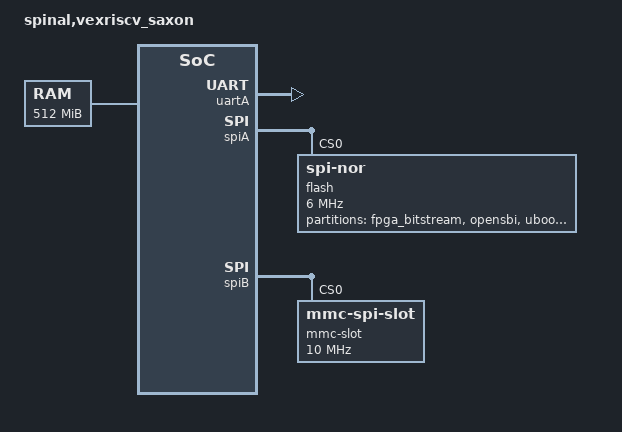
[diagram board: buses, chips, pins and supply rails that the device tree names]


/dts-v1/;
//include/ "dt-bindings/interrupt-controller/irq.h"
//include/ "dt-bindings/gpio/gpio.h"



/ {
    #address-cells = <0x1>;
    #size-cells = <0x1>;
    compatible = "spinal,vexriscv";
    model = "spinal,vexriscv_saxon";

    chosen {
        bootargs = "rootwait console=hvc0  earlycon=sbi root=/dev/mmcblk0p2 init=/sbin/init mmc_core.use_spi_crc=0";  //rng_core.default_quality=1000 random.trust_cpu=on

        //bootargs = "rootwait console=hvc0 earlycon=sbi root=/dev/ram0 init=/sbin/init mmc_core.use_spi_crc=0";
        //not necessary if uboot is used
        //linux,initrd-start = <0x81000000>;
        //linux,initrd-end =   <0x82000000>;
    };

    cpus {
        #address-cells = <0x1>;
        #size-cells = <0x0>;
        timebase-frequency = <80000000>;
        cpu@0 {
            device_type = "cpu";
            compatible = "riscv";
            riscv,isa = "rv32ima";
            mmu-type = "riscv,sv32";
            reg = <0>;
            status = "okay";
            L0: interrupt-controller {
                #interrupt-cells = <0x00000001>;
                interrupt-controller;
                compatible = "riscv,cpu-intc";
            };
        };
    };



    memory@1000 {
        device_type = "memory";
        reg = <0x00001000 0x1FFFF000>;
    };

	reserved-memory {
		#address-cells = <1>;
		#size-cells = <1>;
		ranges;

		opensbi: sbi@1000000 {
			reg = <0x01000000 0x80000>;
		};
	};

	clocks {
		compatible = "simple-bus";
		#address-cells = <1>;
		#size-cells = <0>;

		apbA_clock: clock@1 {
			compatible = "fixed-clock";
			reg = <1 0>;
			#clock-cells = <0>;
			clock-frequency = <80000000>;
		};
	};



  apbA@F8000000 {
        compatible = "simple-bus";
        #address-cells = <0x1>;
        #size-cells = <0x1>;
        ranges = <0x0 0xF8000000 0x01000000>;

        plic: interrupt-controller@c00000 {
            compatible = "sifive,plic-1.0.0", "sifive,fu540-c000-plic";
            #interrupt-cells = <1>;
            interrupt-controller;
            interrupts-extended = <
                &L0 11 &L0 9
               >;
            reg = <0x00C00000 0x400000>;
            riscv,ndev = <32>;
        };

        gpioA: gpio@16000 {
	        compatible = "spinal-lib,gpio-1.0";
	        interrupt-parent = <&plic>;
	        ngpio = <16>;
	        interrupts = <12 13>;
	        reg = <0x16000 0x1000>;
	        gpio-controller;
	        #gpio-cells = <2>;
	        interrupt-controller;
	        #interrupt-cells = <2>;
        };

	uartA: uart@10000 {
            compatible = "spinal-lib,uart-1.0";
            reg = <0x10000 0x1000>;
            clocks = <&apbA_clock 0>;
        };

        spiA: spi@14000 {
            compatible = "spinal-lib,spi-1.0";
            #address-cells = <1>;
            #size-cells = <0>;
            reg = <0x014000 0x1000>;
            cmd_fifo_depth = <256>;
            rsp_fifo_depth = <256>;
            num-cs = <1>;
            clocks = <&apbA_clock 0>;
	        flash: flash@0 {
		        #address-cells = <1>;
		        #size-cells = <1>;
		        compatible = "spi-nor";
		        reg = <0>;
		        spi-max-frequency = <6000000>;

	            partition@0 {
	                label = "fpga_bitstream";
	                reg = <0x000000 0x400000>;
	            };
	            partition@1 {
	                label = "opensbi";
	                reg = <0x400000 0x080000>;
	            };
	            partition@2 {
	                label = "uboot";
	                reg = <0x480000 0x080000>;
	            };
	            partition@3 {
	                label = "user";
	                reg = <0x500000 0xB00000>;
	            };
	        };
        };

        spiB: spi@15000 {
            compatible = "spinal-lib,spi-1.0";
            #address-cells = <1>;
            #size-cells = <0>;
            reg = <0x015000 0x1000>;
            cmd_fifo_depth = <256>;
            rsp_fifo_depth = <256>;
            clocks = <&apbA_clock 0>;
            num-cs = <1>;
            mmc-slot@0 {
                compatible = "mmc-spi-slot";
                reg = <0>;
                voltage-ranges = <3300 3300>;
                spi-max-frequency = <10000000>;
            };

        };
    };

};
